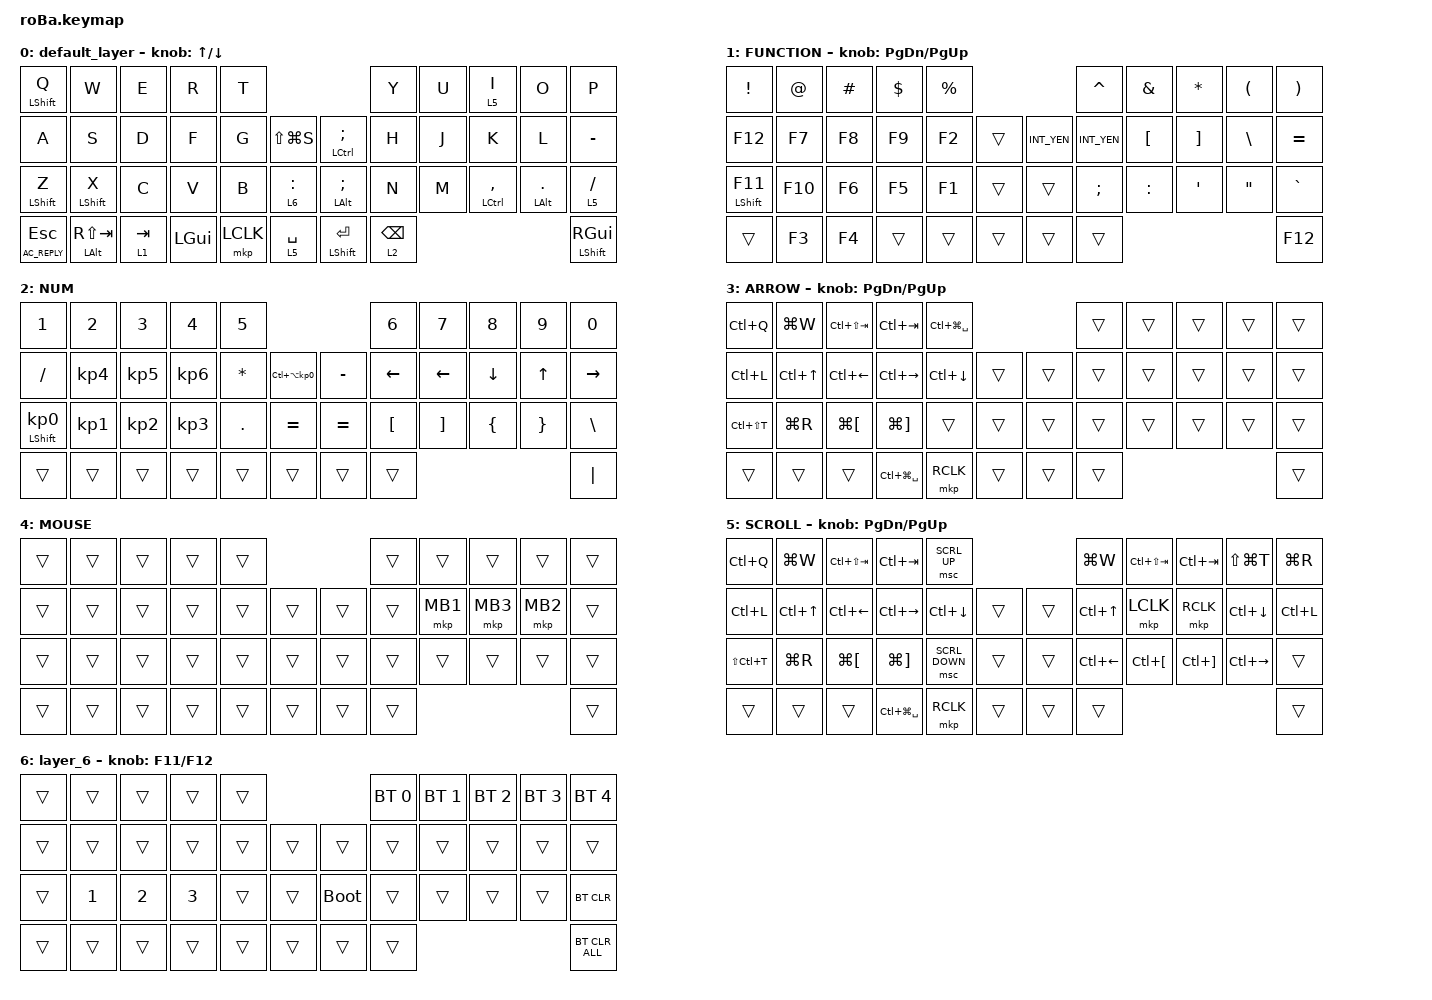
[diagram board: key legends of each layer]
#include <behaviors.dtsi>
#include <dt-bindings/zmk/bt.h>
#include <dt-bindings/zmk/keys.h>
#include <dt-bindings/zmk/pointing.h>

&mt {
    flavor = "balanced";
    quick-tap-ms = <0>;
};

/ {
    combos {
        compatible = "zmk,combos";

        tab {
            bindings = <&kp TAB>;
            key-positions = <11 12>;
        };

        shift_tab {
            bindings = <&kp LS(TAB)>;
            key-positions = <12 13>;
        };

        muhennkann {
            bindings = <&to_layer_0 INT_MUHENKAN>;
            key-positions = <11 10>;
        };

        double_quotation {
            bindings = <&kp DOUBLE_QUOTES>;
            key-positions = <20 21>;
        };

        eq {
            bindings = <&kp EQUAL>;
            key-positions = <24 25>;
        };
    };

    macros {
        to_layer_0: to_layer_0 {
            compatible = "zmk,behavior-macro-one-param";
            #binding-cells = <1>;
            bindings = <&to 0 &macro_param_1to1 &kp MACRO_PLACEHOLDER>;
            label = "TO_LAYER_0";
        };
    };

    behaviors {
        lt_to_layer_0: lt_to_layer_0 {
            compatible = "zmk,behavior-hold-tap";
            label = "LAYER_TAP_TO_0";
            bindings = <&mo>, <&to_layer_0>;

            #binding-cells = <2>;
            tapping-term-ms = <200>;
        };
    };

    keymap {
        compatible = "zmk,keymap";

        default_layer {
            bindings = <
&mt LEFT_SHIFT Q    &kp W                 &kp E      &kp R     &kp T                                                 &kp Y            &kp U  &lt 5 I          &kp O            &kp P
&kp A               &kp S                 &kp D      &kp F     &kp G      &kp LS(LG(S))      &mt LCTRL SEMICOLON     &kp H            &kp J  &kp K            &kp L            &kp MINUS
&mt LEFT_SHIFT Z    &mt LEFT_SHIFT X      &kp C      &kp V     &kp B      &lt 6 COLON        &mt LEFT_ALT SEMICOLON  &kp N            &kp M  &mt LCTRL COMMA  &mt LALT PERIOD  &lt 5 SLASH
&mt C_AC_REPLY ESC  &mt LEFT_ALT RS(TAB)  &lt 1 TAB  &kp LGUI  &mkp LCLK  &lt 5 SPACE        &mt LEFT_SHIFT ENTER    &lt 2 BACKSPACE                                           &mt LEFT_SHIFT RIGHT_GUI
            >;

            sensor-bindings = <&inc_dec_kp UP_ARROW DOWN_ARROW>;
        };

        FUNCTION {
            bindings = <
&kp EXCL            &kp AT   &kp HASH  &kp DOLLAR  &kp PERCENT                           &kp CARET      &kp AMPERSAND     &kp ASTERISK       &kp LEFT_PARENTHESIS  &kp RIGHT_PARENTHESIS
&kp F12             &kp F7   &kp F8    &kp F9      &kp F2       &trans      &kp INT_YEN  &kp INT_YEN    &kp LEFT_BRACKET  &kp RIGHT_BRACKET  &kp BACKSLASH         &kp EQUAL
&mt LEFT_SHIFT F11  &kp F10  &kp F6    &kp F5      &kp F1       &trans      &trans       &kp SEMICOLON  &kp COLON         &kp SINGLE_QUOTE   &kp DOUBLE_QUOTES     &kp GRAVE
&trans              &kp F3   &kp F4    &trans      &trans       &trans      &trans       &trans                                                                    &kp F12
            >;

            sensor-bindings = <&inc_dec_kp PAGE_DOWN PAGE_UP>;
        };

        NUM {
            bindings = <
&kp NUMBER_1                &kp NUMBER_2     &kp NUMBER_3     &kp NUMBER_4     &kp N5                                                &kp NUMBER_6      &kp N7             &kp N8          &kp N9           &kp NUMBER_0
&kp SLASH                   &kp KP_NUMBER_4  &kp KP_NUMBER_5  &kp KP_NUMBER_6  &kp ASTERISK  &kp LC(LA(KP_NUMBER_0))      &kp MINUS  &kp LEFT_ARROW    &kp LEFT_ARROW     &kp DOWN        &kp UP_ARROW     &kp RIGHT_ARROW
&mt LEFT_SHIFT KP_NUMBER_0  &kp KP_NUMBER_1  &kp KP_NUMBER_2  &kp KP_NUMBER_3  &kp PERIOD    &kp EQUAL                    &kp EQUAL  &kp LEFT_BRACKET  &kp RIGHT_BRACKET  &kp LEFT_BRACE  &kp RIGHT_BRACE  &kp BACKSLASH
&trans                      &trans           &trans           &trans           &trans        &trans                       &trans     &trans                                                                &kp PIPE
            >;
        };

        ARROW {
            bindings = <
&kp LC(Q)      &kp LG(W)         &kp LC(LS(TAB))       &kp LC(TAB)            &kp LC(LG(SPACE))                       &trans  &trans  &trans  &trans  &trans
&kp LC(L)      &kp LC(UP_ARROW)  &kp LC(LEFT_ARROW)    &kp LC(RIGHT_ARROW)    &kp LC(DOWN_ARROW)  &trans      &trans  &trans  &trans  &trans  &trans  &trans
&kp LC(LS(T))  &kp LG(R)         &kp LG(LEFT_BRACKET)  &kp LG(RIGHT_BRACKET)  &trans              &trans      &trans  &trans  &trans  &trans  &trans  &trans
&trans         &trans            &trans                &kp LC(LG(SPACE))      &mkp RCLK           &trans      &trans  &trans                          &trans
            >;

            sensor-bindings = <&inc_dec_kp PAGE_DOWN PAGE_UP>;
        };

        MOUSE {
            bindings = <
&trans  &trans  &trans  &trans  &trans                      &trans  &trans    &trans    &trans    &trans
&trans  &trans  &trans  &trans  &trans  &trans      &trans  &trans  &mkp MB1  &mkp MB3  &mkp MB2  &trans
&trans  &trans  &trans  &trans  &trans  &trans      &trans  &trans  &trans    &trans    &trans    &trans
&trans  &trans  &trans  &trans  &trans  &trans      &trans  &trans                                &trans
            >;
        };

        SCROLL {
            bindings = <
&kp LC(Q)      &kp LG(W)         &kp LC(LS(TAB))       &kp LC(TAB)            &msc SCRL_UP                            &kp LG(W)           &kp LC(LS(TAB))       &kp LC(TAB)            &kp LS(LG(T))        &kp LG(R)
&kp LC(L)      &kp LC(UP_ARROW)  &kp LC(LEFT_ARROW)    &kp LC(RIGHT_ARROW)    &kp LC(DOWN_ARROW)  &trans      &trans  &kp LC(UP_ARROW)    &mkp LCLK             &mkp RCLK              &kp LC(DOWN_ARROW)   &kp LC(L)
&kp LS(LC(T))  &kp LG(R)         &kp LG(LEFT_BRACKET)  &kp LG(RIGHT_BRACKET)  &msc SCRL_DOWN      &trans      &trans  &kp LC(LEFT_ARROW)  &kp LC(LEFT_BRACKET)  &kp LC(RIGHT_BRACKET)  &kp LC(RIGHT_ARROW)  &trans
&trans         &trans            &trans                &kp LC(LG(SPACE))      &mkp RCLK           &trans      &trans  &trans                                                                                &trans
            >;

            sensor-bindings = <&inc_dec_kp PAGE_DOWN PAGE_UP>;
        };

        layer_6 {
            bindings = <
&trans  &trans        &trans        &trans        &trans                           &bt BT_SEL 0  &bt BT_SEL 1  &bt BT_SEL 2  &bt BT_SEL 3  &bt BT_SEL 4
&trans  &trans        &trans        &trans        &trans  &trans      &trans       &trans        &trans        &trans        &trans        &trans
&trans  &kp NUMBER_1  &kp NUMBER_2  &kp NUMBER_3  &trans  &trans      &bootloader  &trans        &trans        &trans        &trans        &bt BT_CLR
&trans  &trans        &trans        &trans        &trans  &trans      &trans       &trans                                                  &bt BT_CLR_ALL
            >;

            sensor-bindings = <&inc_dec_kp F11 F12>;
        };
    };
};
